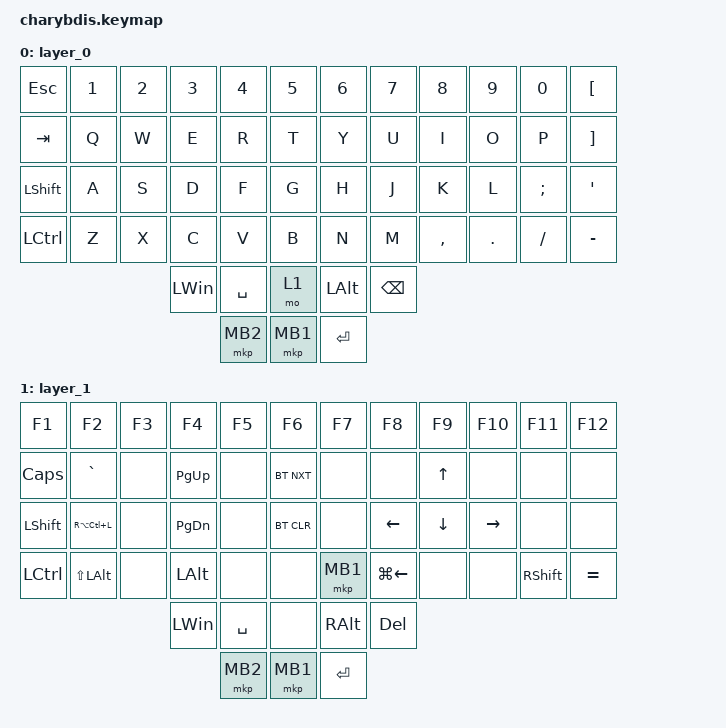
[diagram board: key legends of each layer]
#include <dt-bindings/zmk/mouse.h>
#include <behaviors.dtsi>
#include <dt-bindings/zmk/bt.h>
#include <dt-bindings/zmk/keys.h>
#include <dt-bindings/zmk/pointing.h>

&lt {
    tapping-term-ms = <200>;
    flavor = "balanced";
    quick-tap-ms = <150>;
};

/ {
    combos {
        compatible = "zmk,combos";

        layer1 {
            bindings = <&to 1>;
            key-positions = <55 52>;
        };

        layer0 {
            bindings = <&to 0>;
            key-positions = <51 52>;
        };
    };

    keymap {
        compatible = "zmk,keymap";

        layer_0 {
            bindings = <
&kp ESC         &kp N1  &kp N2  &kp N3        &kp N4     &kp N5      &kp N6     &kp N7         &kp N8     &kp N9      &kp N0    &kp LEFT_BRACKET
&kp TAB         &kp Q   &kp W   &kp E         &kp R      &kp T       &kp Y      &kp U          &kp I      &kp O       &kp P     &kp RIGHT_BRACKET
&kp LEFT_SHIFT  &kp A   &kp S   &kp D         &kp F      &kp G       &kp H      &kp J          &kp K      &kp L       &kp SEMI  &kp SQT
&kp LCTRL       &kp Z   &kp X   &kp C         &kp V      &kp B       &kp N      &kp M          &kp COMMA  &kp PERIOD  &kp FSLH  &kp MINUS
                                &kp LEFT_WIN  &kp SPACE  &mo 1       &kp LALT   &kp BACKSPACE
                                              &mkp MB2   &mkp MB1    &kp ENTER
            >;

            trackball-bindings = <&tmv_coarse>;
        };

        layer_1 {
            bindings = <
&kp F1          &kp F2            &kp F3  &kp F4        &kp F5     &kp F6        &kp F7         &kp F8              &kp F9    &kp F10    &kp F11          &kp F12
&kp CAPS        &kp GRAVE         &none   &kp PG_UP     &none      &bt BT_NXT    &none          &none               &kp UP    &none      &none            &none
&kp LEFT_SHIFT  &kp RA(LC(L))     &none   &kp PG_DN     &none      &bt BT_CLR    &none          &kp LEFT            &kp DOWN  &kp RIGHT  &none            &none
&kp LCTRL       &kp LS(LEFT_ALT)  &none   &kp LALT      &none      &none         &mkp MB1       &kp LG(LEFT_ARROW)  &none     &none      &kp RIGHT_SHIFT  &kp EQUAL
                                          &kp LEFT_WIN  &kp SPACE  &none         &kp RIGHT_ALT  &kp DELETE
                                                        &mkp MB2   &mkp MB1      &kp ENTER
            >;

            trackball-bindings = <&tsl>;
        };

        /* layer_2 {
            bindings = <
&none  &none   &none    &none   &none         &none         &kp N1         &none         &none     &none  &none   &to 0
&none  &none   &none    &none   &none         &none         &none         &none          &rgb_ug RGB_BRD &rgb_ug RGB_BRI  &rgb_ug RGB_EFF   &rgb_ug RGB_TOG
&none  &none   &none    &none   &none         &none         &none         &mkp LCLK     &mkp RCLK  &none  &none   &none
&none  &none   &none    &none   &bt BT_NXT  &bt BT_CLR    &none         &none         &none     &none  &none   &none
                                   &none         &none         &none         &none         &none
                                                 &none         &none         &none
            >;
          trackball-bindings = <&tsl>;
            
        };

       Mouse {
            bindings = <
&none        &none         &none         &none         &none      &none         &none       &none      &none         &none         &none         &none
&none        &bt BT_SEL 0  &bt BT_SEL 1  &bt BT_SEL 3  &none      &bt BT_CLR    &bt BT_CLR  &none      &bt BT_SEL 2  &bt BT_SEL 1  &bt BT_SEL 0  &none
&none        &trans        &trans        &mkp MCLK     &trans     &none         &none       &trans     &mkp MCLK     &trans        &trans        &none
&bootloader  &trans        &mkp RCLK     &mo 4         &mkp LCLK  &mo 5         &mo 5       &mkp LCLK  &mo 4         &mkp RCLK     &trans        &bootloader
                                         &mo 5         &mkp LCLK  &mkp RCLK     &mkp RCLK   &mkp LCLK
                                                       &none      &trans        &trans
            >;

            
        };

        layer_4 {
            bindings = <
&trans  &trans  &trans     &trans     &trans     &trans       &trans     &trans     &trans     &trans     &trans  &trans
&trans  &trans  &trans     &trans     &trans     &trans       &trans     &trans     &trans     &trans     &trans  &trans
&trans  &trans  &trans     &mkp MCLK  &trans     &trans       &trans     &trans     &mkp MCLK  &trans     &trans  &trans
&trans  &trans  &mkp RCLK  &trans     &mkp LCLK  &trans       &trans     &mkp LCLK  &trans     &mkp RCLK  &trans  &trans
                           &trans     &mkp LCLK  &mkp RCLK    &mkp RCLK  &mkp LCLK
                                      &trans     &trans       &trans
            >;
                
                
                trackball-bindings = <&tsl>;
        };

        layer_5 {
            bindings = <
&trans  &trans  &trans     &trans     &trans     &trans       &trans     &trans     &trans     &trans     &trans  &trans
&trans  &trans  &trans     &trans     &trans     &trans       &trans     &trans     &trans     &trans     &trans  &trans
&trans  &trans  &trans     &mkp MCLK  &trans     &trans       &trans     &trans     &mkp MCLK  &trans     &trans  &trans
&trans  &trans  &mkp RCLK  &trans     &mkp LCLK  &trans       &trans     &mkp LCLK  &trans     &mkp RCLK  &trans  &trans
                           &trans     &mkp LCLK  &mkp RCLK    &mkp RCLK  &mkp LCLK
                                      &trans     &trans       &trans
            >;
                trackball-bindings = <&tmv_fine>;
                
        };*/
    };
};
